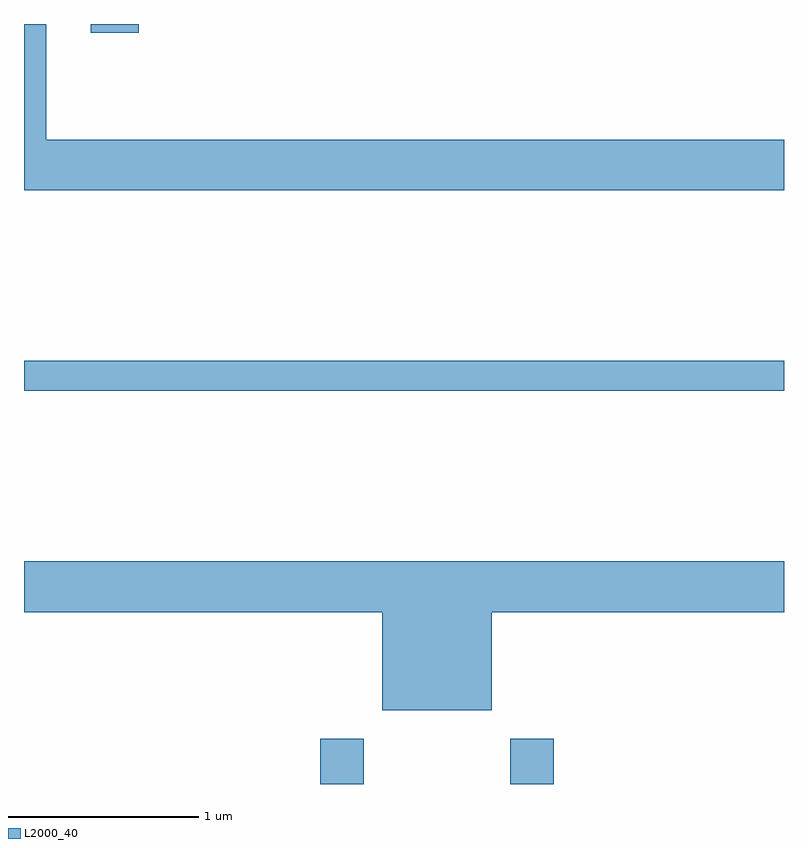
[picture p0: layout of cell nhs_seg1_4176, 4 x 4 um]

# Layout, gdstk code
import gdstk
lib = gdstk.Library(unit=1e-6, precision=1e-09)
def R(c, l, rs):  # rectangles x0, y0, x1, y1
    for r in rs: c.add(gdstk.rectangle(r[:2], r[2:], *l))
def P(c, l, *ps):  # polygons
    for p in ps: c.add(gdstk.Polygon(p, *l))
L2000_40 = (2000, 40)

nhs_seg1_4176 = lib.new_cell('nhs_seg1_4176')
R(nhs_seg1_4176, L2000_40, [(311.171,969.712,311.399,969.949), (312.171,969.712,312.399,969.949), (309.611,971.781,313.611,971.939), (309.961,973.666,310.214,973.712)])
P(nhs_seg1_4176, L2000_40, [(313.611,973.104),(309.729,973.104),(309.729,973.712),(309.611,973.712),(309.611,972.836),(313.611,972.836)],
  [(312.074,970.616),(313.611,970.616),(313.611,970.884),(309.611,970.884),(309.611,970.616),(311.496,970.616),(311.496,970.101),(312.074,970.101)])

lib.write_gds('nhs_seg1_4176.gds')
